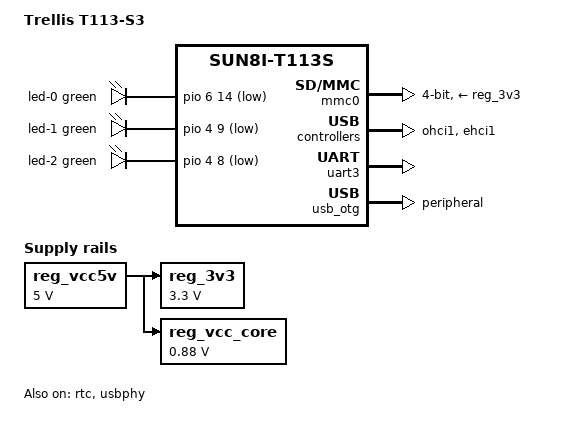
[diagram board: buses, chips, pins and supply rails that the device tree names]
// SPDX-License-Identifier: (GPL-2.0+ OR MIT)
// Copyright (C) 2022 Arm Ltd.

#include <dt-bindings/interrupt-controller/irq.h>

/dts-v1/;

#include "sun8i-t113s.dtsi"
#include <dt-bindings/gpio/gpio.h>
#include <dt-bindings/leds/common.h>

/ {
	model = "Trellis T113-S3";
	compatible = "protolux,trellis-t113", "allwinner,sun8i-t113s";

	aliases {
		serial3 = &uart3;
	};

	chosen {
		stdout-path = "serial3:115200n8";
	};

	leds {
		compatible = "gpio-leds";

		led-0 {
			color = <LED_COLOR_ID_GREEN>;
			function = LED_FUNCTION_STATUS;
			gpios = <&pio 6 14 GPIO_ACTIVE_LOW>; /* PG14 */
		};

		led-1 {
			color = <LED_COLOR_ID_GREEN>;
			function = LED_FUNCTION_STATUS;
			gpios = <&pio 4 9 GPIO_ACTIVE_LOW>; /* PE9 */
		};

		led-2 {
			color = <LED_COLOR_ID_GREEN>;
			function = LED_FUNCTION_STATUS;
			gpios = <&pio 4 8 GPIO_ACTIVE_LOW>; /* PE8 */
		};
	};

	/* board wide 5V supply directly from the USB-C socket */
	reg_vcc5v: regulator-5v {
		compatible = "regulator-fixed";
		regulator-name = "vcc-5v";
		regulator-min-microvolt = <5000000>;
		regulator-max-microvolt = <5000000>;
		regulator-always-on;
	};

	/* SY8008 DC/DC regulator on the board */
	reg_3v3: regulator-3v3 {
		compatible = "regulator-fixed";
		regulator-name = "vcc-3v3";
		regulator-min-microvolt = <3300000>;
		regulator-max-microvolt = <3300000>;
		vin-supply = <&reg_vcc5v>;
	};

	/* SY8008 DC/DC regulator on the board, also supplying VDD-SYS */
	reg_vcc_core: regulator-core {
		compatible = "regulator-fixed";
		regulator-name = "vcc-core";
		regulator-min-microvolt = <880000>;
		regulator-max-microvolt = <880000>;
		vin-supply = <&reg_vcc5v>;
	};

	/*
	chg_fast: chg-fast {
		compatible = "mmc-pwrseq-simple";
		reset-gpios = <&pio 6 12 GPIO_ACTIVE_LOW>;
	};
	*/
};

&cpu0 {
	cpu-supply = <&reg_vcc_core>;
};

&cpu1 {
	cpu-supply = <&reg_vcc_core>;
};

&rtc {
	status = "okay";
};

&dcxo {
	clock-frequency = <24000000>;
};

/* SD card chip storage */
&mmc0 {
	pinctrl-names = "default";
	pinctrl-0 = <&mmc0_pins>;
	vmmc-supply = <&reg_3v3>;
	disable-wp;
	bus-width = <4>;
	status = "okay";
};

&ohci1 {
	status = "okay";
};

&pio {
	vcc-pb-supply = <&reg_3v3>;
	vcc-pd-supply = <&reg_3v3>;
	vcc-pe-supply = <&reg_3v3>;
	vcc-pf-supply = <&reg_3v3>;
	vcc-pg-supply = <&reg_3v3>;

	/omit-if-no-ref/
	uart2_pe_pins: uart2-pe-pins {
		pins = "PE0", "PE1", "PE2", "PE3";
		function = "uart2";
	};
};

/* shell */
&uart3 {
	pinctrl-names = "default";
	pinctrl-0 = <&uart3_pb_pins>;
	status = "okay";
};

&ehci1 {
	status = "okay";
};

/* The USB-C socket has its CC pins pulled to GND, so is hardwired as a UFP. */
&usb_otg {
	dr_mode = "peripheral";
	status = "okay";
};

&usbphy {
	usb1_vbus-supply = <&reg_vcc5v>;
	status = "okay";
};
